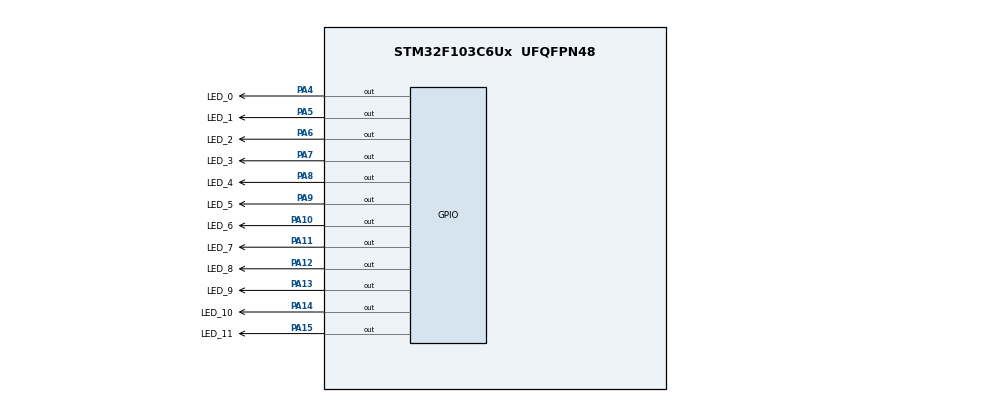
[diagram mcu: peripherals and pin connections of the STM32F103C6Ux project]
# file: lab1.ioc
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Mcu.Family=STM32F1
Mcu.Name=STM32F103C6Ux
Mcu.Package=UFQFPN48
NVIC.PriorityGroup=NVIC_PRIORITYGROUP_4
PA10.GPIO_Label=LED_6
PA10.Signal=GPIO_Output
PA11.GPIO_Label=LED_7
PA11.Signal=GPIO_Output
PA12.GPIO_Label=LED_8
PA12.Signal=GPIO_Output
PA13.GPIO_Label=LED_9
PA13.Signal=GPIO_Output
PA14.GPIO_Label=LED_10
PA14.Signal=GPIO_Output
PA15.GPIO_Label=LED_11
PA15.Signal=GPIO_Output
PA4.GPIO_Label=LED_0
PA4.Signal=GPIO_Output
PA5.GPIO_Label=LED_1
PA5.Signal=GPIO_Output
PA6.GPIO_Label=LED_2
PA6.Signal=GPIO_Output
PA7.GPIO_Label=LED_3
PA7.Signal=GPIO_Output
PA8.GPIO_Label=LED_4
PA8.Signal=GPIO_Output
PA9.GPIO_Label=LED_5
PA9.Signal=GPIO_Output
ProjectManager.HeapSize=0x200
ProjectManager.StackSize=0x400
ProjectManager.TargetToolchain=STM32CubeIDE
RCC.APB1Freq_Value=8000000
RCC.APB2Freq_Value=8000000
VP_SYS_VS_ND.Mode=No_Debug
board=custom

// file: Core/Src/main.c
/* USER CODE BEGIN Header */
/**
  ******************************************************************************
  * @file           : main.c
  * @brief          : Main program body
  ******************************************************************************
  * @attention
  *
  * <h2><center>&copy; Copyright (c) 2022 STMicroelectronics.
  * All rights reserved.</center></h2>
  *
  * This software component is licensed by ST under BSD 3-Clause license,
  * the "License"; You may not use this file except in compliance with the
  * License. You may obtain a copy of the License at:
  *                        opensource.org/licenses/BSD-3-Clause
  *
  ******************************************************************************
  */
/* USER CODE END Header */
#include "main.h"

void SystemClock_Config(void);
static void MX_GPIO_Init(void);

int main(void)
{

  /* MCU Configuration--------------------------------------------------------*/

  /* Reset of all peripherals, Initializes the Flash interface and the Systick. */
  HAL_Init();

  /* Configure the system clock */
  SystemClock_Config();

  /* Initialize all configured peripherals */
  MX_GPIO_Init();

  /* Infinite loop */
  while (1)
  {

    /* USER CODE BEGIN 3 */
	  	HAL_GPIO_WritePin(LED_0_GPIO_Port, LED_0_Pin, RESET);
	  	HAL_GPIO_WritePin(LED_1_GPIO_Port, LED_1_Pin, SET);
	  	HAL_GPIO_WritePin(LED_2_GPIO_Port, LED_2_Pin, SET);
	  	HAL_GPIO_WritePin(LED_3_GPIO_Port, LED_3_Pin, SET);
	  	HAL_GPIO_WritePin(LED_4_GPIO_Port, LED_4_Pin, SET);
	  	HAL_GPIO_WritePin(LED_5_GPIO_Port, LED_5_Pin, SET);
	  	HAL_GPIO_WritePin(LED_6_GPIO_Port, LED_6_Pin, SET);
	  	HAL_GPIO_WritePin(LED_7_GPIO_Port, LED_7_Pin, SET);
	  	HAL_GPIO_WritePin(LED_8_GPIO_Port, LED_8_Pin, SET);
	  	HAL_GPIO_WritePin(LED_9_GPIO_Port, LED_9_Pin, SET);
	  	HAL_GPIO_WritePin(LED_10_GPIO_Port, LED_10_Pin, SET);
	  	HAL_GPIO_WritePin(LED_11_GPIO_Port, LED_11_Pin, SET);
	  	HAL_Delay(1000);
	  	HAL_GPIO_WritePin(LED_1_GPIO_Port, LED_1_Pin, RESET);
	  	HAL_Delay(1000);
	  	HAL_GPIO_WritePin(LED_2_GPIO_Port, LED_2_Pin, RESET);
	  	HAL_Delay(1000);
	  	HAL_GPIO_WritePin(LED_3_GPIO_Port, LED_3_Pin, RESET);
	  	HAL_Delay(1000);
	  	HAL_GPIO_WritePin(LED_4_GPIO_Port, LED_4_Pin, RESET);
	  	HAL_Delay(1000);
	  	HAL_GPIO_WritePin(LED_5_GPIO_Port, LED_5_Pin, RESET);
	  	HAL_Delay(1000);
	  	HAL_GPIO_WritePin(LED_6_GPIO_Port, LED_6_Pin, RESET);
	  	HAL_Delay(1000);
	  	HAL_GPIO_WritePin(LED_7_GPIO_Port, LED_7_Pin, RESET);
	  	HAL_Delay(1000);
	  	HAL_GPIO_WritePin(LED_8_GPIO_Port, LED_8_Pin, RESET);
	  	HAL_Delay(1000);
	  	HAL_GPIO_WritePin(LED_9_GPIO_Port, LED_9_Pin, RESET);
	  	HAL_Delay(1000);
	  	HAL_GPIO_WritePin(LED_10_GPIO_Port, LED_10_Pin, RESET);
	  	HAL_Delay(1000);
	  	HAL_GPIO_WritePin(LED_11_GPIO_Port, LED_11_Pin, RESET);
	  	HAL_Delay(1000);
  }
  /* USER CODE END 3 */
}

void SystemClock_Config(void)
{
  RCC_OscInitTypeDef RCC_OscInitStruct = {0};
  RCC_ClkInitTypeDef RCC_ClkInitStruct = {0};

  /** Initializes the RCC Oscillators according to the specified parameters
  * in the RCC_OscInitTypeDef structure.
  */
  RCC_OscInitStruct.OscillatorType = RCC_OSCILLATORTYPE_HSI;
  RCC_OscInitStruct.HSIState = RCC_HSI_ON;
  RCC_OscInitStruct.HSICalibrationValue = RCC_HSICALIBRATION_DEFAULT;
  RCC_OscInitStruct.PLL.PLLState = RCC_PLL_NONE;
  if (HAL_RCC_OscConfig(&RCC_OscInitStruct) != HAL_OK)
  {
    Error_Handler();
  }
  /** Initializes the CPU, AHB and APB buses clocks
  */
  RCC_ClkInitStruct.ClockType = RCC_CLOCKTYPE_HCLK|RCC_CLOCKTYPE_SYSCLK
                              |RCC_CLOCKTYPE_PCLK1|RCC_CLOCKTYPE_PCLK2;
  RCC_ClkInitStruct.SYSCLKSource = RCC_SYSCLKSOURCE_HSI;
  RCC_ClkInitStruct.AHBCLKDivider = RCC_SYSCLK_DIV1;
  RCC_ClkInitStruct.APB1CLKDivider = RCC_HCLK_DIV1;
  RCC_ClkInitStruct.APB2CLKDivider = RCC_HCLK_DIV1;

  if (HAL_RCC_ClockConfig(&RCC_ClkInitStruct, FLASH_LATENCY_0) != HAL_OK)
  {
    Error_Handler();
  }
}

static void MX_GPIO_Init(void)
{
  GPIO_InitTypeDef GPIO_InitStruct = {0};

  /* GPIO Ports Clock Enable */
  __HAL_RCC_GPIOA_CLK_ENABLE();

  /*Configure GPIO pin Output Level */
  HAL_GPIO_WritePin(GPIOA, LED_0_Pin|LED_1_Pin|LED_2_Pin|LED_3_Pin
                          |LED_4_Pin|LED_5_Pin|LED_6_Pin|LED_7_Pin
                          |LED_8_Pin|LED_9_Pin|LED_10_Pin|LED_11_Pin, GPIO_PIN_RESET);

  /*Configure GPIO pins : LED_0_Pin LED_1_Pin LED_2_Pin LED_3_Pin
                           LED_4_Pin LED_5_Pin LED_6_Pin LED_7_Pin
                           LED_8_Pin LED_9_Pin LED_10_Pin LED_11_Pin */
  GPIO_InitStruct.Pin = LED_0_Pin|LED_1_Pin|LED_2_Pin|LED_3_Pin
                          |LED_4_Pin|LED_5_Pin|LED_6_Pin|LED_7_Pin
                          |LED_8_Pin|LED_9_Pin|LED_10_Pin|LED_11_Pin;
  GPIO_InitStruct.Mode = GPIO_MODE_OUTPUT_PP;
  GPIO_InitStruct.Pull = GPIO_NOPULL;
  GPIO_InitStruct.Speed = GPIO_SPEED_FREQ_LOW;
  HAL_GPIO_Init(GPIOA, &GPIO_InitStruct);

}

void Error_Handler(void)
{
  __disable_irq();
  while (1)
  {
  }
}

/************************ (C) COPYRIGHT STMicroelectronics *****END OF FILE****/
